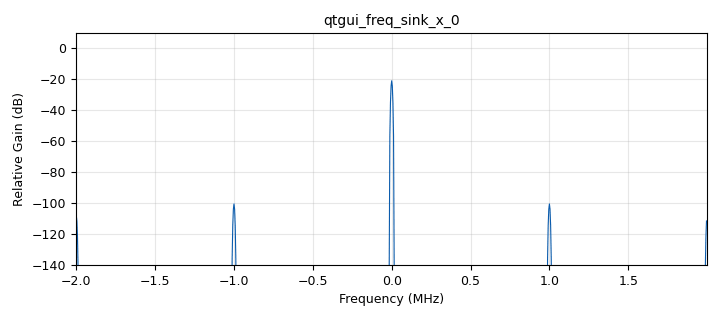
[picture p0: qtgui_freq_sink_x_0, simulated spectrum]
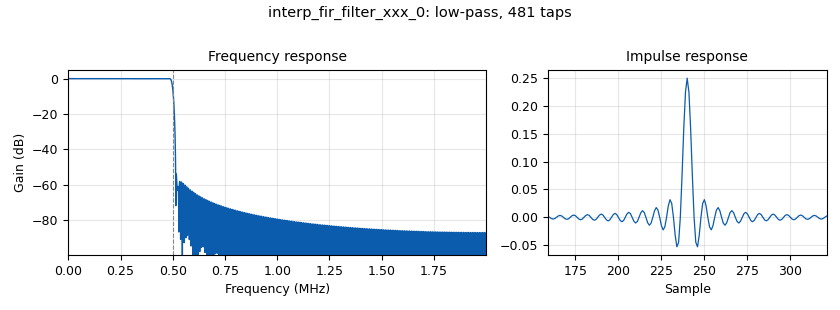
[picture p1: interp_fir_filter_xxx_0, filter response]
options:
  parameters:
    author: jkita
    description: Interpolation is the process of increasing the sampling rate and thus the available bandwidth. This example demonstrates how to increase the sampling rate using the Interpolating FIR Filter block.
    generate_options: qt_gui
    id: sample_rate_change_example
    output_language: python
    title: Not titled yet
  states: {}

blocks:
- name: freq
  id: variable_qtgui_range
  parameters:
    start: '0'
    step: '100'
    stop: 10e6
    value: '0'
  states: {}
- name: interpolation_rate
  id: variable
  parameters:
    value: '4'
  states: {}
- name: low_pass_filter_taps
  id: variable_low_pass_filter_taps
  parameters:
    cutoff_freq: samp_rate_interpolated/(interpolation_rate*2)
    gain: '1.0'
    samp_rate: samp_rate_interpolated
    width: 20e3
    win: window.WIN_HAMMING
  states: {}
- name: samp_rate
  id: variable
  parameters:
    value: 1e6
  states: {}
- name: samp_rate_interpolated
  id: variable
  parameters:
    value: samp_rate*interpolation_rate
  states: {}
- name: analog_sig_source_x_0
  id: analog_sig_source_x
  parameters:
    amp: '1'
    freq: freq
    offset: '0'
    phase: '0'
    samp_rate: samp_rate
    type: complex
    waveform: analog.GR_COS_WAVE
  states: {}
- name: blocks_throttle_0
  id: blocks_throttle
  parameters:
    samples_per_second: samp_rate_interpolated
    type: complex
  states: {}
- name: interp_fir_filter_xxx_0
  id: interp_fir_filter_xxx
  parameters:
    interp: interpolation_rate
    taps: low_pass_filter_taps
    type: ccc
  states: {}
- name: qtgui_freq_sink_x_0
  id: qtgui_freq_sink_x
  parameters:
    bw: samp_rate_interpolated
    fc: '0'
    fftsize: '1024'
    type: complex
  states: {}

connections:
- [analog_sig_source_x_0, '0', interp_fir_filter_xxx_0, '0']
- [blocks_throttle_0, '0', qtgui_freq_sink_x_0, '0']
- [interp_fir_filter_xxx_0, '0', blocks_throttle_0, '0']

metadata:
  file_format: 1
  grc_version: 3.10.5.1
